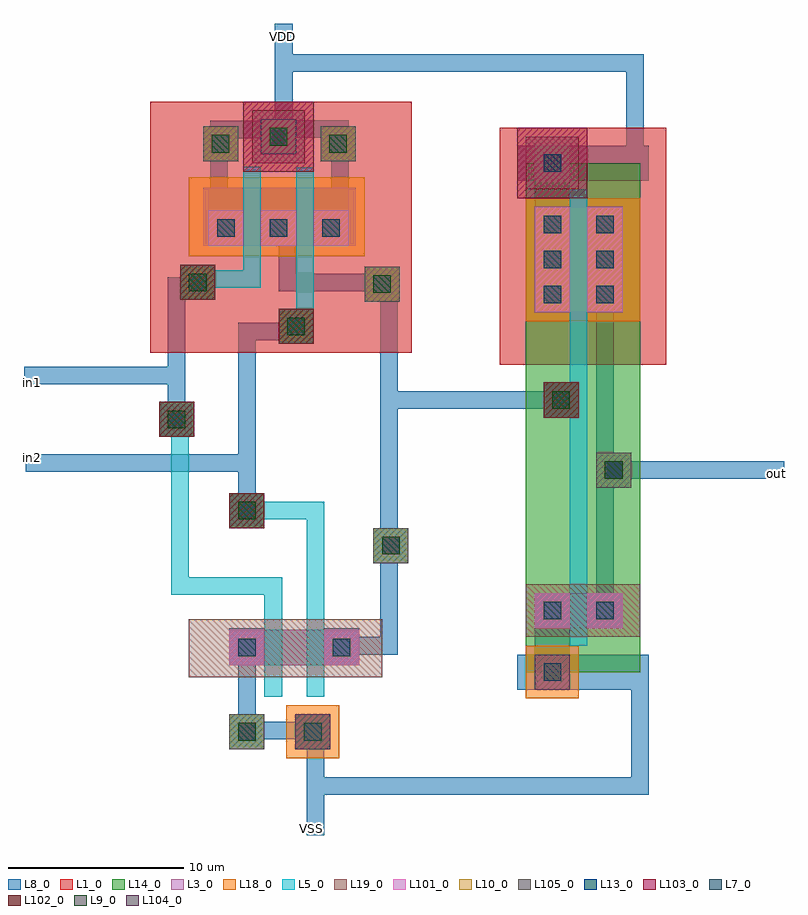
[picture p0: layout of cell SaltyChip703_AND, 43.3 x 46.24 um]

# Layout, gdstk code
import gdstk
lib = gdstk.Library(unit=1e-6, precision=1e-08)
def R(c, l, rs):  # rectangles x0, y0, x1, y1
    for r in rs: c.add(gdstk.rectangle(r[:2], r[2:], *l))
def A(c, l, x, y, w, h, nx, ny, dx, dy):  # array of equal rectangles
    R(c, l, [(x+i*dx, y+j*dy, x+i*dx+w, y+j*dy+h) for i in range(nx) for j in range(ny)])
L1_0 = (1, 0)
L3_0 = (3, 0)
L5_0 = (5, 0)
L7_0 = (7, 0)
L8_0 = (8, 0)
L9_0 = (9, 0)
L10_0 = (10, 0)
L13_0 = (13, 0)
L14_0 = (14, 0)
L18_0 = (18, 0)
L19_0 = (19, 0)
L101_0 = (101, 0)
L102_0 = (102, 0)
L103_0 = (103, 0)
L104_0 = (104, 0)
L105_0 = (105, 0)

pcont = lib.new_cell('pcont')
R(pcont, L5_0, [(-1,-1,1,1)])
R(pcont, L7_0, [(-0.5,-0.5,0.5,0.5)])
R(pcont, L8_0, [(-1,-1,1,1)])
R(pcont, L102_0, [(-1,-1,1,1)])
pcont.add(gdstk.Label('pcont', (0,0), layer=13, texttype=0))

dcont = lib.new_cell('dcont')
R(dcont, L3_0, [(-1,-1,1,1)])
R(dcont, L7_0, [(-0.5,-0.5,0.5,0.5)])
R(dcont, L8_0, [(-1,-1,1,1)])
R(dcont, L13_0, [(-0.5,-0.5,0.5,0.5)])
R(dcont, L101_0, [(-1,-1,1,1)])
dcont.add(gdstk.Label('dcont', (0,0), layer=13, texttype=0))

nsubcont = lib.new_cell('nsubcont')
R(nsubcont, L1_0, [(-2,-2,2,2)])
R(nsubcont, L19_0, [(-1.5,-1.5,1.5,1.5)])
R(nsubcont, L103_0, [(-2,-2,2,2)])
nsubcont.add(gdstk.Reference(dcont, (0,0)))
nsubcont.add(gdstk.Label('NScont', (0,0), layer=13, texttype=0))

via = lib.new_cell('Via')
R(via, L8_0, [(-1,-1,1,1)])
R(via, L9_0, [(-0.5,-0.5,0.5,0.5)])
R(via, L10_0, [(-1,-1,1,1)])
R(via, L13_0, [(-0.5,-0.5,0.5,0.5)])
R(via, L105_0, [(-1,-1,1,1)])
via.add(gdstk.Label('via', (0,0), layer=13, texttype=0))

psubcont = lib.new_cell('psubcont')
R(psubcont, L18_0, [(-1.5,-1.5,1.5,1.5)])
R(psubcont, L104_0, [(-1,-1,1,1)])
psubcont.add(gdstk.Reference(dcont, (0,0)))
psubcont.add(gdstk.Label('PScon', (0,0), layer=13, texttype=0))

inv1 = lib.new_cell('inv1')
R(inv1, L1_0, [(-1.5,17.5,8,31)])
R(inv1, L3_0, [(0.5,2.5,5.5,4.5), (0.5,20.5,5.5,26.5)])
R(inv1, L8_0, [(-0.5,-1,7,1), (4,10.5,6,12.5), (1,14.5,3,16.5), (-0.5,28,7,30)])
R(inv1, L10_0, [(4,10.5,6,12.5), (1,14.5,3,16.5)])
R(inv1, L14_0, [(0,0,6.5,29)])
R(inv1, L18_0, [(0,20,6.5,27)])
R(inv1, L19_0, [(0,2,6.5,5)])
R(inv1, L105_0, [(4,10.5,6,12.5), (1,14.5,3,16.5)])
inv1.add(gdstk.FlexPath([(4.5,20.5),(4.5,3.8)], 1, ends="extended", simple_path=True, layer=8, datatype=0))  # L8_0
inv1.add(gdstk.FlexPath([(4.5,22.3),(4.5,25.5)], 1.4, ends="extended", simple_path=True, layer=8, datatype=0))  # L8_0
inv1.add(gdstk.FlexPath([(1.5,1),(1.5,3.5)], 2, ends="extended", simple_path=True, layer=8, datatype=0))  # L8_0
inv1.add(gdstk.FlexPath([(1.5,21.5),(1.5,28.5)], 2, ends="extended", simple_path=True, layer=8, datatype=0))  # L8_0
inv1.add(gdstk.FlexPath([(3,27),(3,2)], 1, ends="extended", simple_path=True, layer=5, datatype=0))  # L5_0
inv1.add(gdstk.Reference(pcont, (2,15.5)))
inv1.add(gdstk.Reference(dcont, (4.5,21.5)))
inv1.add(gdstk.Reference(dcont, (1.5,21.5)))
inv1.add(gdstk.Reference(nsubcont, (1.5,29)))
inv1.add(gdstk.Reference(via, (2,15.5)))
inv1.add(gdstk.Reference(dcont, (4.5,3.5)))
inv1.add(gdstk.Reference(dcont, (1.5,3.5)))
inv1.add(gdstk.Reference(dcont, (1.5,23.5)))
inv1.add(gdstk.Reference(psubcont, (1.5,0)))
inv1.add(gdstk.Reference(dcont, (4.5,25.5)))
inv1.add(gdstk.Reference(dcont, (1.5,25.5)))
inv1.add(gdstk.Reference(via, (5,11.5)))
inv1.add(gdstk.Reference(dcont, (4.5,23.5)))
inv1.add(gdstk.Label('VSS', (3,0), layer=8, texttype=0))
inv1.add(gdstk.Label('VDD', (0.3,28.5), layer=8, texttype=0))
inv1.add(gdstk.Label('VDD', (4,29), layer=8, texttype=0))
inv1.add(gdstk.Label('via', (5,11.5), layer=13, texttype=0))
inv1.add(gdstk.Label('via', (2,15.5), layer=13, texttype=0))
inv1.add(gdstk.Label('X', (5,11.5), layer=10, texttype=0))
inv1.add(gdstk.Label('A', (2,15.5), layer=10, texttype=0))

saltychip703_and = lib.new_cell('SaltyChip703_AND')
R(saltychip703_and, L1_0, [(34.1,-1.8,49,12.5), (39.4,8.5,43.4,12.5)])
A(saltychip703_and, L3_0, 37.4, 4.3, 2, 2, 3, 1, 3, 0)
R(saltychip703_and, L3_0, [(42.35,-24.4,44.35,-22.4), (38.6,-19.6,40.6,-17.6), (38.6,-19.6,46,-17.6), (44,-19.6,46,-17.6), (37.1,4.3,45.8,7.6), (37.4,4.3,45.4,7.6), (40.4,9.5,42.4,11.5)])
R(saltychip703_and, L5_0, [(35.3,-15.6,36.3,-5.3), (38.6,-11.8,40.6,-9.8), (34.6,-6.6,36.6,-4.6), (41.4,-1.3,43.4,0.7), (42.4,-0.2,43.4,4), (35.8,1.2,37.8,3.2), (39.4,1.9,40.4,3.9)])
A(saltychip703_and, L7_0, 37.9, 4.8, 1, 1, 3, 1, 3, 0)
R(saltychip703_and, L7_0, [(42.85,-23.9,43.85,-22.9), (39.1,-19.1,40.1,-18.1), (44.5,-19.1,45.5,-18.1), (39.1,-11.3,40.1,-10.3), (35.1,-6.1,36.1,-5.1), (41.9,-0.8,42.9,0.2), (36.3,1.7,37.3,2.7), (40.9,10,41.9,11)])
A(saltychip703_and, L8_0, 37.4, 4.3, 2, 2, 3, 1, 3, 0)
R(saltychip703_and, L8_0, [(38.6,-24.4,40.6,-22.4), (42.35,-24.4,44.35,-22.4), (42.35,-24.4,44.35,-22.4), (38.6,-19.6,40.6,-17.6), (44,-19.6,46,-17.6), (46.8,-13.8,48.8,-11.8), (46.8,-13.8,48.8,-11.8), (38.6,-11.8,40.6,-9.8), (38.6,-11.8,40.6,-9.8), (34.6,-6.6,36.6,-4.6), (34.6,-6.6,36.6,-4.6), (41.4,-1.3,43.4,0.7), (41.4,-1.3,43.4,0.7), (46.3,1.1,48.3,3.1), (35.8,1.2,37.8,3.2), (35.8,1.2,37.8,3.2), (37.1,9.1,39.1,11.1), (43.8,9.1,45.8,11.1), (40.4,9.5,42.4,11.5), (40.4,9.5,42.4,11.5)])
R(saltychip703_and, L9_0, [(39.1,-23.9,40.1,-22.9), (42.85,-23.9,43.85,-22.9), (47.3,-13.3,48.3,-12.3), (47.3,-13.3,48.3,-12.3), (39.1,-11.3,40.1,-10.3), (35.1,-6.1,36.1,-5.1), (41.9,-0.8,42.9,0.2), (46.8,1.6,47.8,2.6), (36.3,1.7,37.3,2.7), (37.6,9.6,38.6,10.6), (44.3,9.6,45.3,10.6), (40.9,10,41.9,11)])
R(saltychip703_and, L10_0, [(38.6,-24.4,40.6,-22.4), (42.35,-24.4,44.35,-22.4), (46.8,-13.8,48.8,-11.8), (46.8,-13.8,48.8,-11.8), (38.6,-11.8,40.6,-9.8), (34.6,-6.6,36.6,-4.6), (41.4,-1.3,43.4,0.7), (46.3,1.1,48.3,3.1), (35.8,1.2,37.8,3.2), (37.1,9.1,39.1,11.1), (43.8,9.1,45.8,11.1), (40.4,9.5,42.4,11.5)])
A(saltychip703_and, L13_0, 37.9, 4.8, 1, 1, 3, 1, 3, 0)
R(saltychip703_and, L13_0, [(39.1,-23.9,40.1,-22.9), (42.85,-23.9,43.85,-22.9), (42.85,-23.9,43.85,-22.9), (39.1,-19.1,40.1,-18.1), (44.5,-19.1,45.5,-18.1), (47.3,-13.3,48.3,-12.3), (47.3,-13.3,48.3,-12.3), (39.1,-11.3,40.1,-10.3), (39.1,-11.3,40.1,-10.3), (35.1,-6.1,36.1,-5.1), (35.1,-6.1,36.1,-5.1), (41.9,-0.8,42.9,0.2), (41.9,-0.8,42.9,0.2), (46.8,1.6,47.8,2.6), (36.3,1.7,37.3,2.7), (36.3,1.7,37.3,2.7), (37.6,9.6,38.6,10.6), (44.3,9.6,45.3,10.6), (40.9,10,41.9,11), (40.9,10,41.9,11)])
R(saltychip703_and, L18_0, [(41.85,-24.9,44.85,-21.9), (36.3,3.7,46.3,8.2)])
R(saltychip703_and, L19_0, [(36.3,-20.3,47.3,-17), (39.9,9,42.9,12)])
A(saltychip703_and, L101_0, 37.4, 4.3, 2, 2, 3, 1, 3, 0)
R(saltychip703_and, L101_0, [(42.35,-24.4,44.35,-22.4), (38.6,-19.6,40.6,-17.6), (44,-19.6,46,-17.6), (40.4,9.5,42.4,11.5)])
R(saltychip703_and, L102_0, [(38.6,-11.8,40.6,-9.8), (34.6,-6.6,36.6,-4.6), (41.4,-1.3,43.4,0.7), (35.8,1.2,37.8,3.2)])
R(saltychip703_and, L103_0, [(39.4,8.5,43.4,12.5)])
R(saltychip703_and, L104_0, [(42.35,-24.4,44.35,-22.4)])
R(saltychip703_and, L105_0, [(38.6,-24.4,40.6,-22.4), (42.35,-24.4,44.35,-22.4), (46.8,-13.8,48.8,-11.8), (46.8,-13.8,48.8,-11.8), (38.6,-11.8,40.6,-9.8), (34.6,-6.6,36.6,-4.6), (41.4,-1.3,43.4,0.7), (46.3,1.1,48.3,3.1), (35.8,1.2,37.8,3.2), (37.1,9.1,39.1,11.1), (43.8,9.1,45.8,11.1), (40.4,9.5,42.4,11.5)])
saltychip703_and.add(gdstk.FlexPath([(57.4,-4.5),(47.2,-4.5)], 1, ends="flush", simple_path=True, layer=8, datatype=0))  # L8_0
saltychip703_and.add(gdstk.FlexPath([(41.4,14.7),(61.7,14.7),(61.7,8.8)], 1, ends="flush", simple_path=True, layer=8, datatype=0))  # L8_0
saltychip703_and.add(gdstk.FlexPath([(43,-26.5),(62,-26.5),(62,-19.8)], 1, ends="flush", simple_path=True, layer=8, datatype=0))  # L8_0
saltychip703_and.add(gdstk.FlexPath([(70.2,-8.5),(60,-8.5)], 1, ends="flush", simple_path=True, layer=8, datatype=0))  # L8_0
saltychip703_and.add(gdstk.FlexPath([(44.4,4.3),(44.4,7.6)], 2, ends="flush", simple_path=True, layer=8, datatype=0))  # L8_0
saltychip703_and.add(gdstk.FlexPath([(41.4,4.3),(41.4,7.6)], 2, ends="flush", simple_path=True, layer=8, datatype=0))  # L8_0
saltychip703_and.add(gdstk.FlexPath([(38.4,4.3),(38.4,7.6)], 2, ends="flush", simple_path=True, layer=8, datatype=0))  # L8_0
saltychip703_and.add(gdstk.FlexPath([(39.56,-23.32),(43.5,-23.32),(43.5,-29.3)], 1, ends="flush", simple_path=True, layer=8, datatype=0))  # L8_0
saltychip703_and.add(gdstk.FlexPath([(37.44,2),(35.6,2),(35.6,-6.2)], 1, ends="flush", simple_path=True, layer=8, datatype=0))  # L8_0
saltychip703_and.add(gdstk.FlexPath([(47.7,2.6),(47.7,-19)], 1, ends="flush", simple_path=True, layer=8, datatype=0))  # L8_0
saltychip703_and.add(gdstk.FlexPath([(48.1,2.2),(41.9,2.2),(41.9,6.7)], 1, ends="flush", simple_path=True, layer=8, datatype=0))  # L8_0
saltychip703_and.add(gdstk.FlexPath([(43.04,-0.6),(39.6,-0.6),(39.6,-11.8)], 1, ends="flush", simple_path=True, layer=8, datatype=0))  # L8_0
saltychip703_and.add(gdstk.FlexPath([(40.1,-8.1),(27,-8.1)], 1, ends="flush", simple_path=True, layer=8, datatype=0))  # L8_0
saltychip703_and.add(gdstk.FlexPath([(45,-19.5),(45,-17.5)], 2, ends="flush", simple_path=True, layer=8, datatype=0))  # L8_0
saltychip703_and.add(gdstk.FlexPath([(39.6,-23.1),(39.6,-18.4)], 1, ends="flush", simple_path=True, layer=8, datatype=0))  # L8_0
saltychip703_and.add(gdstk.FlexPath([(44.52,-18.5),(47.8,-18.5)], 1, ends="flush", simple_path=True, layer=8, datatype=0))  # L8_0
saltychip703_and.add(gdstk.FlexPath([(38,6.67),(38,10.9),(41.7,10.9),(41.7,16.91)], 1, ends="flush", simple_path=True, layer=8, datatype=0))  # L8_0
saltychip703_and.add(gdstk.FlexPath([(44.9,6.9),(44.9,10.93),(41.7,10.93),(41.7,16.94)], 1, ends="flush", simple_path=True, layer=8, datatype=0))  # L8_0
saltychip703_and.add(gdstk.FlexPath([(39.6,-19.5),(39.6,-17.5)], 2, ends="flush", simple_path=True, layer=8, datatype=0))  # L8_0
saltychip703_and.add(gdstk.FlexPath([(35.61,-3.1),(26.9,-3.1)], 1, ends="flush", simple_path=True, layer=8, datatype=0))  # L8_0
saltychip703_and.add(gdstk.FlexPath([(41.1,-20.4),(41.1,-18.4)], 1, ends=(1, 1), simple_path=True, layer=5, datatype=0))  # L5_0
saltychip703_and.add(gdstk.FlexPath([(43.5,-20.4),(43.5,-18.4)], 1, ends=(1, 1), simple_path=True, layer=5, datatype=0))  # L5_0
saltychip703_and.add(gdstk.FlexPath([(35.3,-15.1),(41.1,-15.1),(41.1,-17.9)], 1, ends="flush", simple_path=True, layer=5, datatype=0))  # L5_0
saltychip703_and.add(gdstk.FlexPath([(39.3,-10.8),(43.5,-10.8),(43.5,-17.9)], 1, ends="flush", simple_path=True, layer=5, datatype=0))  # L5_0
saltychip703_and.add(gdstk.FlexPath([(39.9,4.5),(39.9,7.8)], 1, ends=(1, 1), simple_path=True, layer=5, datatype=0))  # L5_0
saltychip703_and.add(gdstk.FlexPath([(37,2.4),(39.9,2.4),(39.9,2.9)], 1, ends="flush", simple_path=True, layer=5, datatype=0))  # L5_0
saltychip703_and.add(gdstk.FlexPath([(42.9,4.47),(42.9,7.77)], 1, ends=(1, 1), simple_path=True, layer=5, datatype=0))  # L5_0
saltychip703_and.add(gdstk.Reference(inv1, (55.5,-20)))
saltychip703_and.add(gdstk.Label('out', (69.8,-8.7), layer=8, texttype=0))
saltychip703_and.add(gdstk.Label('VDD', (41.6,16.2), layer=8, texttype=0))
saltychip703_and.add(gdstk.Label('VSS', (43.3,-28.9), layer=8, texttype=0))
saltychip703_and.add(gdstk.Label('in1', (27.4,-3.5), layer=8, texttype=0))
saltychip703_and.add(gdstk.Label('in2', (27.4,-7.8), layer=8, texttype=0))

lib.write_gds('SaltyChip703_AND.gds')
